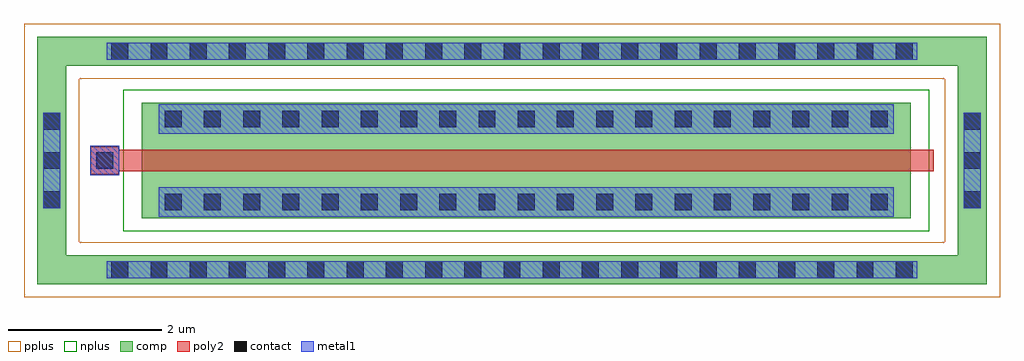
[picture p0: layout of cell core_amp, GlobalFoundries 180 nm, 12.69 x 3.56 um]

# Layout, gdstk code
from math import pi, radians
import gdstk
lib = gdstk.Library(unit=1e-6, precision=5e-09)
def R(c, l, rs):  # rectangles x0, y0, x1, y1
    for r in rs: c.add(gdstk.rectangle(r[:2], r[2:], *l))
def A(c, l, x, y, w, h, nx, ny, dx, dy):  # array of equal rectangles
    R(c, l, [(x+i*dx, y+j*dy, x+i*dx+w, y+j*dy+h) for i in range(nx) for j in range(ny)])
def P(c, l, *ps):  # polygons
    for p in ps: c.add(gdstk.Polygon(p, *l))
comp = (22, 0)
poly2 = (30, 0)
pplus = (31, 0)
nplus = (32, 0)
contact = (33, 0)
metal1 = (34, 0)

nfet = lib.new_cell('nfet')
R(nfet, comp, [(-0.42,0,0,10), (0,0,0.66,10), (0.66,0,1.08,10)])
P(nfet, comp, [(-1.28,-0.99),(-1.28,10.98),(-0.9,10.98),(-0.9,-0.61),(1.56,-0.61),(1.56,10.98),(-1.28,10.98),(-1.28,11.36),(1.94,11.36),(1.94,-0.99)])
R(nfet, poly2, [(0.19,-0.3,0.47,10.3), (0.15,10.3,0.51,10.66)])
P(nfet, pplus, [(-1.45,-1.16),(-1.45,10.81),(-0.73,10.81),(-0.73,-0.44),(1.39,-0.44),(1.39,10.81),(-1.45,10.81),(-1.45,11.53),(2.11,11.53),(2.11,-1.16)])
R(nfet, nplus, [(-0.59,-0.24,1.25,10.24)])
A(nfet, contact, -0.29, -0.91, 0.22, 0.22, 3, 2, 0.51, 11.97)
A(nfet, contact, -1.2, -0.025, 0.22, 0.22, 1, 21, 0, 0.51)
A(nfet, contact, 1.64, -0.025, 0.22, 0.22, 1, 21, 0, 0.51)
A(nfet, contact, -0.32, 0.3, 0.22, 0.22, 1, 19, 0, 0.51)
A(nfet, contact, 0.76, 0.3, 0.22, 0.22, 1, 19, 0, 0.51)
R(nfet, contact, [(0.22,10.37,0.44,10.59)])
R(nfet, metal1, [(-0.4,0.22,-0.02,9.78), (0.68,0.22,1.06,9.78), (0.14,10.29,0.52,10.67)])

core_amp = lib.new_cell('core_amp')
R(core_amp, metal1, [(0.51,0.175,0.57,0.395), (0.51,0.175,0.57,0.395), (0.57,0.175,10.99,0.395), (10.99,0.175,11.05,0.395), (-0.315,1.085,-0.095,2.325), (11.655,1.085,11.875,2.325), (0.51,3.015,0.57,3.235), (0.57,3.015,10.99,3.235), (10.99,3.015,11.05,3.235)])
r = gdstk.Reference(nfet, (10.965,1.375), rotation=pi/2); r.repetition = gdstk.Repetition(1, 1, v1=(0,0), v2=(0,0)); core_amp.add(r)

lib.write_gds('core_amp.gds')
